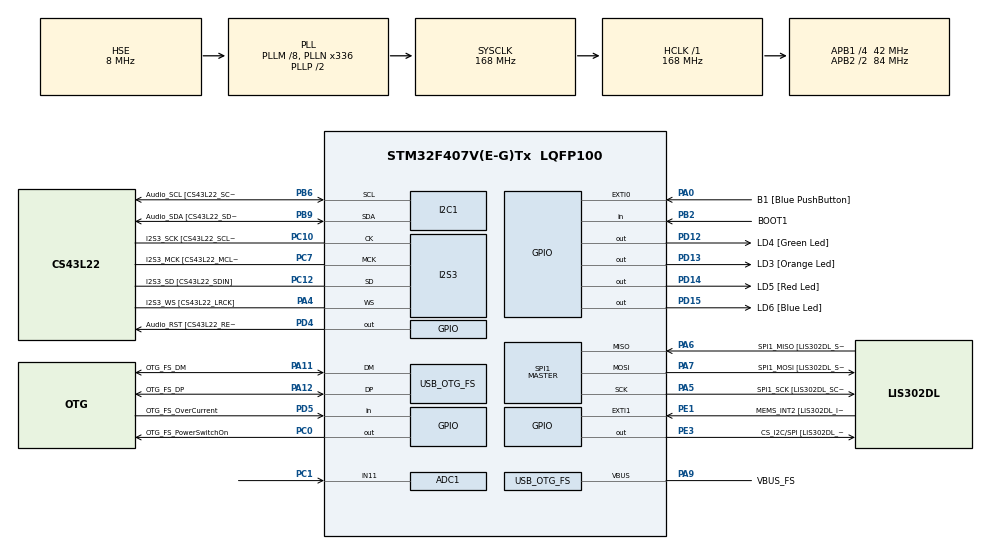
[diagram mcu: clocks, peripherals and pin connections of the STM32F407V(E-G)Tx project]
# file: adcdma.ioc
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ADC1.Channel-0\#ChannelRegularConversion=ADC_CHANNEL_TEMPSENSOR
ADC1.Channel-1\#ChannelRegularConversion=ADC_CHANNEL_11
ADC1.ClockPrescaler=ADC_CLOCK_SYNC_PCLK_DIV8
ADC1.ContinuousConvMode=ENABLE
ADC1.DMAContinuousRequests=ENABLE
ADC1.NbrOfConversion=2
ADC1.NbrOfConversionFlag=1
ADC1.Rank-0\#ChannelRegularConversion=1
ADC1.Rank-1\#ChannelRegularConversion=2
ADC1.SamplingTime-0\#ChannelRegularConversion=ADC_SAMPLETIME_112CYCLES
ADC1.SamplingTime-1\#ChannelRegularConversion=ADC_SAMPLETIME_112CYCLES
ADC1.ScanConvMode=ENABLE
ADC1.master=1
Dma.ADC1.0.Direction=DMA_PERIPH_TO_MEMORY
Dma.ADC1.0.FIFOMode=DMA_FIFOMODE_ENABLE
Dma.ADC1.0.FIFOThreshold=DMA_FIFO_THRESHOLD_FULL
Dma.ADC1.0.Instance=DMA2_Stream0
Dma.ADC1.0.MemBurst=DMA_MBURST_SINGLE
Dma.ADC1.0.MemDataAlignment=DMA_MDATAALIGN_WORD
Dma.ADC1.0.MemInc=DMA_MINC_ENABLE
Dma.ADC1.0.Mode=DMA_CIRCULAR
Dma.ADC1.0.PeriphBurst=DMA_PBURST_SINGLE
Dma.ADC1.0.PeriphDataAlignment=DMA_PDATAALIGN_WORD
Dma.ADC1.0.PeriphInc=DMA_PINC_DISABLE
Dma.ADC1.0.Priority=DMA_PRIORITY_LOW
Dma.Request0=ADC1
I2S3.AudioFreq-Half_Duplex_Master=I2S_AUDIOFREQ_96K
I2S3.ErrorAudioFreq=-2.34 %
I2S3.ErrorAudioFreq-Half_Duplex_Master=0.8 %
I2S3.FullDuplexMode=I2S_FULLDUPLEXMODE_DISABLE
I2S3.Instance=SPI$Index
I2S3.RealAudioFreq=93.75 KHz
I2S3.RealAudioFreq-Half_Duplex_Master=96.774 KHz
I2S3.VirtualMode=I2S_MODE_MASTER
Mcu.Family=STM32F4
Mcu.Name=STM32F407V(E-G)Tx
Mcu.Package=LQFP100
NVIC.DMA2_Stream0_IRQn=true\:0\:0\:false\:false\:true\:false\:true
NVIC.OTG_FS_IRQn=true\:0\:0\:false\:false\:true\:true\:true
NVIC.PriorityGroup=NVIC_PRIORITYGROUP_0
PA0-WKUP.GPIO_Label=B1 [Blue PushButton]
PA0-WKUP.GPIO_ModeDefaultEXTI=GPIO_MODE_EVT_RISING
PA0-WKUP.GPIO_PuPd=GPIO_NOPULL
PA0-WKUP.Signal=GPXTI0
PA10.GPIO_Label=OTG_FS_ID
PA10.GPIO_Mode=GPIO_MODE_AF_PP
PA10.GPIO_PuPd=GPIO_NOPULL
PA10.GPIO_Speed=GPIO_SPEED_FREQ_LOW
PA10.Signal=USB_OTG_FS_ID
PA11.GPIO_Label=OTG_FS_DM
PA11.GPIO_Mode=GPIO_MODE_AF_PP
PA11.GPIO_PuPd=GPIO_NOPULL
PA11.GPIO_Speed=GPIO_SPEED_FREQ_LOW
PA11.Mode=Host_Only
PA11.Signal=USB_OTG_FS_DM
PA12.GPIO_Label=OTG_FS_DP
PA12.GPIO_Mode=GPIO_MODE_AF_PP
PA12.GPIO_PuPd=GPIO_NOPULL
PA12.GPIO_Speed=GPIO_SPEED_FREQ_LOW
PA12.Mode=Host_Only
PA12.Signal=USB_OTG_FS_DP
PA13.GPIO_Label=SWDIO
PA13.Mode=Trace_Asynchronous_SW
PA13.Signal=SYS_JTMS-SWDIO
PA14.GPIO_Label=SWCLK
PA14.Mode=Trace_Asynchronous_SW
PA14.Signal=SYS_JTCK-SWCLK
PA4.GPIO_Label=I2S3_WS [CS43L22_LRCK]
PA4.GPIO_Mode=GPIO_MODE_AF_PP
PA4.GPIO_PuPd=GPIO_NOPULL
PA4.GPIO_Speed=GPIO_SPEED_FREQ_LOW
PA4.Mode=Half_Duplex_Master
PA4.Signal=I2S3_WS
PA5.GPIO_Label=SPI1_SCK [LIS302DL_SCL/SPC]
PA5.GPIO_Mode=GPIO_MODE_AF_PP
PA5.GPIO_PuPd=GPIO_NOPULL
PA5.GPIO_Speed=GPIO_SPEED_FREQ_LOW
PA5.Mode=Full_Duplex_Master
PA5.Signal=SPI1_SCK
PA6.GPIO_Label=SPI1_MISO [LIS302DL_SDO]
PA6.GPIO_Mode=GPIO_MODE_AF_PP
PA6.GPIO_PuPd=GPIO_NOPULL
PA6.GPIO_Speed=GPIO_SPEED_FREQ_LOW
PA6.Mode=Full_Duplex_Master
PA6.Signal=SPI1_MISO
PA7.GPIO_Label=SPI1_MOSI [LIS302DL_SDA/SDI/SDO]
PA7.GPIO_Mode=GPIO_MODE_AF_PP
PA7.GPIO_PuPd=GPIO_NOPULL
PA7.GPIO_Speed=GPIO_SPEED_FREQ_LOW
PA7.Mode=Full_Duplex_Master
PA7.Signal=SPI1_MOSI
PA9.GPIO_Label=VBUS_FS
PA9.GPIO_Mode=GPIO_MODE_INPUT
PA9.GPIO_PuPd=GPIO_NOPULL
PA9.Mode=Activate_VBUS
PA9.Signal=USB_OTG_FS_VBUS
PB10.GPIO_Label=CLK_IN [MP45DT02_CLK]
PB10.GPIO_Mode=GPIO_MODE_AF_PP
PB10.GPIO_PuPd=GPIO_NOPULL
PB10.GPIO_Speed=GPIO_SPEED_FREQ_LOW
PB10.Signal=I2S2_CK
PB2.GPIO_Label=BOOT1
PB2.GPIO_Mode=GPIO_MODE_INPUT
PB2.GPIO_PuPd=GPIO_NOPULL
PB2.Signal=GPIO_Input
PB3.GPIO_Label=SWO
PB3.Mode=Trace_Asynchronous_SW
PB3.Signal=SYS_JTDO-SWO
PB6.GPIO_Label=Audio_SCL [CS43L22_SCL]
PB6.GPIO_Mode=GPIO_MODE_AF_OD
PB6.GPIO_Pu=GPIO_PULLUP
PB6.GPIO_PuPd=GPIO_NOPULL
PB6.GPIO_Speed=GPIO_SPEED_FREQ_LOW
PB6.Mode=I2C
PB6.Signal=I2C1_SCL
PB9.GPIO_Label=Audio_SDA [CS43L22_SDA]
PB9.GPIO_Mode=GPIO_MODE_AF_OD
PB9.GPIO_Pu=GPIO_PULLUP
PB9.GPIO_PuPd=GPIO_NOPULL
PB9.GPIO_Speed=GPIO_SPEED_FREQ_LOW
PB9.Mode=I2C
PB9.Signal=I2C1_SDA
PC0.GPIO_Label=OTG_FS_PowerSwitchOn
PC0.GPIO_PuPd=GPIO_NOPULL
PC0.GPIO_Speed=GPIO_SPEED_FREQ_LOW
PC0.PinState=GPIO_PIN_SET
PC0.Signal=GPIO_Output
PC1.Signal=ADCx_IN11
PC10.GPIO_Label=I2S3_SCK [CS43L22_SCLK]
PC10.GPIO_Mode=GPIO_MODE_AF_PP
PC10.GPIO_PuPd=GPIO_NOPULL
PC10.GPIO_Speed=GPIO_SPEED_FREQ_LOW
PC10.Mode=Half_Duplex_Master
PC10.Signal=I2S3_CK
PC12.GPIO_Label=I2S3_SD [CS43L22_SDIN]
PC12.GPIO_Mode=GPIO_MODE_AF_PP
PC12.GPIO_PuPd=GPIO_NOPULL
PC12.GPIO_Speed=GPIO_SPEED_FREQ_LOW
PC12.Mode=Half_Duplex_Master
PC12.Signal=I2S3_SD
PC14-OSC32_IN.GPIO_Label=PC14-OSC32_IN
PC14-OSC32_IN.Mode=LSE-External-Oscillator
PC14-OSC32_IN.Signal=RCC_OSC32_IN
PC15-OSC32_OUT.GPIO_Label=PC15-OSC32_OUT
PC15-OSC32_OUT.Mode=LSE-External-Oscillator
PC15-OSC32_OUT.Signal=RCC_OSC32_OUT
PC3.GPIO_Label=PDM_OUT [MP45DT02_DOUT]
PC3.GPIO_Mode=GPIO_MODE_AF_PP
PC3.GPIO_PuPd=GPIO_NOPULL
PC3.GPIO_Speed=GPIO_SPEED_FREQ_LOW
PC3.Signal=I2S2_SD
PC7.GPIO_Label=I2S3_MCK [CS43L22_MCLK]
PC7.GPIO_Mode=GPIO_MODE_AF_PP
PC7.GPIO_PuPd=GPIO_NOPULL
PC7.GPIO_Speed=GPIO_SPEED_FREQ_LOW
PC7.Mode=Master_Clock_Activated
PC7.Signal=I2S3_MCK
PD12.GPIO_Label=LD4 [Green Led]
PD12.GPIO_PuPd=GPIO_NOPULL
PD12.GPIO_Speed=GPIO_SPEED_FREQ_LOW
PD12.Signal=GPIO_Output
PD13.GPIO_Label=LD3 [Orange Led]
PD13.GPIO_ModeDefaultOutputPP=GPIO_MODE_OUTPUT_PP
PD13.GPIO_PuPd=GPIO_NOPULL
PD13.GPIO_Speed=GPIO_SPEED_FREQ_MEDIUM
PD13.Signal=GPIO_Output
PD14.GPIO_Label=LD5 [Red Led]
PD14.GPIO_PuPd=GPIO_NOPULL
PD14.GPIO_Speed=GPIO_SPEED_FREQ_LOW
PD14.Signal=GPIO_Output
PD15.GPIO_Label=LD6 [Blue Led]
PD15.GPIO_PuPd=GPIO_NOPULL
PD15.GPIO_Speed=GPIO_SPEED_FREQ_LOW
PD15.Signal=GPIO_Output
PD4.GPIO_Label=Audio_RST [CS43L22_RESET]
PD4.GPIO_PuPd=GPIO_NOPULL
PD4.GPIO_Speed=GPIO_SPEED_FREQ_LOW
PD4.Signal=GPIO_Output
PD5.GPIO_Label=OTG_FS_OverCurrent
PD5.GPIO_Mode=GPIO_MODE_INPUT
PD5.GPIO_PuPd=GPIO_NOPULL
PD5.Signal=GPIO_Input
PE1.GPIO_Label=MEMS_INT2 [LIS302DL_INT2]
PE1.GPIO_ModeDefaultEXTI=GPIO_MODE_EVT_RISING
PE1.GPIO_PuPd=GPIO_NOPULL
PE1.Signal=GPXTI1
PE3.GPIO_Label=CS_I2C/SPI [LIS302DL_CS_I2C/SPI]
PE3.GPIO_PuPd=GPIO_NOPULL
PE3.GPIO_Speed=GPIO_SPEED_FREQ_LOW
PE3.Signal=GPIO_Output
PH0-OSC_IN.GPIO_Label=PH0-OSC_IN
PH0-OSC_IN.Mode=HSE-External-Oscillator
PH0-OSC_IN.Signal=RCC_OSC_IN
PH1-OSC_OUT.GPIO_Label=PH1-OSC_OUT
PH1-OSC_OUT.Mode=HSE-External-Oscillator
PH1-OSC_OUT.Signal=RCC_OSC_OUT
ProjectManager.HeapSize=0x200
ProjectManager.StackSize=0x400
ProjectManager.TargetToolchain=STM32CubeIDE
RCC.48MHZClocksFreq_Value=48000000
RCC.AHBFreq_Value=168000000
RCC.APB1CLKDivider=RCC_HCLK_DIV4
RCC.APB1Freq_Value=42000000
RCC.APB1TimFreq_Value=84000000
RCC.APB2CLKDivider=RCC_HCLK_DIV2
RCC.APB2Freq_Value=84000000
RCC.APB2TimFreq_Value=168000000
RCC.CortexFreq_Value=168000000
RCC.HCLKFreq_Value=168000000
RCC.HSE_VALUE=8000000
RCC.HSI_VALUE=16000000
RCC.PLLM=8
RCC.PLLN=336
RCC.PLLQ=7
RCC.SYSCLKFreq_VALUE=168000000
RCC.SYSCLKSource=RCC_SYSCLKSOURCE_PLLCLK
RCC.VCOOutputFreq_Value=336000000
SH.ADCx_IN11.0=ADC3_IN11
SH.ADCx_IN11.1=ADC1_IN11,IN11
SPI1.BaudRatePrescaler-Full_Duplex_Master=SPI_BAUDRATEPRESCALER_2
SPI1.CalculateBaudRate-Full_Duplex_Master=42.0 MBits/s
SPI1.Direction=SPI_DIRECTION_2LINES
SPI1.Mode=SPI_MODE_MASTER
SPI1.Mode-Full_Duplex_Master=SPI_MODE_MASTER
SPI1.VirtualType=VM_MASTER
USB_HOST.BSP.number=1
USB_HOST.USBH_HandleTypeDef-CDC_FS=hUsbHostFS
USB_HOST.VirtualModeFS=Cdc
USB_HOST0.BSP.STBoard=false
USB_HOST0.BSP.api=Unknown
USB_HOST0.BSP.i2caddr=0
USB_HOST0.BSP.i2creg=0
USB_HOST0.BSP.instance=PC0
USB_HOST0.BSP.ip=GPIO
USB_HOST0.BSP.mode=Output
USB_HOST0.BSP.name=Drive_VBUS_FS
USB_HOST0.BSP.solution=PC0
USB_OTG_FS.VirtualMode=Host_Only
USB_OTG_FS.phy_itface=HCD_PHY_EMBEDDED
VP_ADC1_TempSens_Input.Mode=IN-TempSens
VP_USB_HOST_VS_USB_HOST_CDC_FS.Mode=CDC_FS
board=STM32F407G-DISC1

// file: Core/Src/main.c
/* USER CODE BEGIN Header */

/**
 * Loren Olsen
ECET 260 Mel Dundas
Lab 05 ADC Thermistor via DMA

Reading ADC value for CPU Die Temp and external Thermistor
ADC1 is being used for the CPU die Temperature monitor and also the external thermistor
Orange LED toggles off and on every 500ms from systick

  ******************************************************************************
  * @file           : main.c
  * @brief          : Main program body
  ******************************************************************************
  * @attention
  *
  * <h2><center>&copy; Copyright (c) 2021 STMicroelectronics.
  * All rights reserved.</center></h2>
  *
  * This software component is licensed by ST under Ultimate Liberty license
  * SLA0044, the "License"; You may not use this file except in compliance with
  * the License. You may obtain a copy of the License at:
  *                             www.st.com/SLA0044
  *
  ******************************************************************************
  */
/* USER CODE END Header */
#include "main.h"
#include "usb_host.h"

/* USER CODE BEGIN Includes */
#include <stdio.h>
#include <math.h>

/* USER CODE END Includes */

ADC_HandleTypeDef hadc1;
DMA_HandleTypeDef hdma_adc1;

I2C_HandleTypeDef hi2c1;

I2S_HandleTypeDef hi2s3;

SPI_HandleTypeDef hspi1;

/* USER CODE BEGIN PV */

//unsigned int adcSumForAverage0, adcSumForAverage1 = 0;
uint32_t dmaData[200];
uint32_t cpuRaw, thermRaw, count = 0;
float tempcpu, tempextern, readcpu, readtherm = 0.0;

/* USER CODE END PV */

void SystemClock_Config(void);
static void MX_GPIO_Init(void);
static void MX_I2C1_Init(void);
static void MX_I2S3_Init(void);
static void MX_SPI1_Init(void);
static void MX_DMA_Init(void);
static void MX_ADC1_Init(void);
void MX_USB_HOST_Process(void);

/* USER CODE BEGIN PFP */

int __io_putchar(int ch);
float  convertAnalogToTemperature(unsigned int analogReadValue);
float convertAnalogCPUToTemperature(unsigned int analogReadValue);

/* USER CODE END PFP */

int main(void)
{

  /* MCU Configuration--------------------------------------------------------*/

  /* Reset of all peripherals, Initializes the Flash interface and the Systick. */
  HAL_Init();

  /* Configure the system clock */
  SystemClock_Config();

  /* Initialize all configured peripherals */
  MX_GPIO_Init();
  MX_I2C1_Init();
  MX_I2S3_Init();
  MX_SPI1_Init();
  MX_USB_HOST_Init();
  MX_DMA_Init();
  MX_ADC1_Init();

  /* Infinite loop */
  /* USER CODE BEGIN WHILE */

  HAL_ADC_Start_DMA(&hadc1, dmaData, 200);												//Start the ADC converiosn and send it via DMA to dmaData Array
  	  	  	  	  	  	  	  	  	  	  	  	  	  	  	  	  	  	  	  	  	  	  //Because of the ranking in the DMA , odd array values will be CPU data
  	  	  	  	  	  	  	  	  	  	  	  	  	  	  	  	  	  	  	  	  	  	  // and odd values will be for the thermistor

  while (1)	//****************************************************************************     Start of Code
  {

	  printf("%i --> ", count);
	  //count++;

	  for (int i = 0; i < 200; i+=2)													//Take all even Array values and add them into cpu raw data
	  {
		   cpuRaw += dmaData[i];

	  }

	  for (int i = 1; i < 200; i+=2)													//Take all odd array values and add them to raw thermistor data
	  {
		   thermRaw += dmaData[i];

	  }

	  tempcpu = convertAnalogCPUToTemperature(cpuRaw / 100);							//Get CPU temp from the average of 100 samples of raw data
	  readcpu = tempcpu;																//copy this data into a more stable variable

	  tempextern = convertAnalogToTemperature(thermRaw / 100);							//Get Thermistor temp from average of 100 raw data samples
	  readtherm = tempextern;															//Copy data to a stable variable for output on the cube ide graph

	  printf("CPU Raw = %i     Exter Raw = %i \n", cpuRaw, thermRaw);

	  printf("CPU Temp = %.1f      Exter Temp = %.1f \n", tempcpu, tempextern);

	  cpuRaw = 0;
	  thermRaw = 0;

	  if (count >= 500)																	//Count is incremented in systick function. 1 tick per ms
	  {
		  HAL_GPIO_TogglePin(OrangeLED_GPIO_Port, OrangeLED_Pin);
		  count -= 500;
	  }

  }

    /* USER CODE END WHILE */
    MX_USB_HOST_Process();

}

void SystemClock_Config(void)
{
  RCC_OscInitTypeDef RCC_OscInitStruct = {0};
  RCC_ClkInitTypeDef RCC_ClkInitStruct = {0};

  /** Configure the main internal regulator output voltage
  */
  __HAL_RCC_PWR_CLK_ENABLE();
  __HAL_PWR_VOLTAGESCALING_CONFIG(PWR_REGULATOR_VOLTAGE_SCALE1);
  /** Initializes the RCC Oscillators according to the specified parameters
  * in the RCC_OscInitTypeDef structure.
  */
  RCC_OscInitStruct.OscillatorType = RCC_OSCILLATORTYPE_HSE;
  RCC_OscInitStruct.HSEState = RCC_HSE_ON;
  RCC_OscInitStruct.PLL.PLLState = RCC_PLL_ON;
  RCC_OscInitStruct.PLL.PLLSource = RCC_PLLSOURCE_HSE;
  RCC_OscInitStruct.PLL.PLLM = 8;
  RCC_OscInitStruct.PLL.PLLN = 336;
  RCC_OscInitStruct.PLL.PLLP = RCC_PLLP_DIV2;
  RCC_OscInitStruct.PLL.PLLQ = 7;
  if (HAL_RCC_OscConfig(&RCC_OscInitStruct) != HAL_OK)
  {
    Error_Handler();
  }
  /** Initializes the CPU, AHB and APB buses clocks
  */
  RCC_ClkInitStruct.ClockType = RCC_CLOCKTYPE_HCLK|RCC_CLOCKTYPE_SYSCLK
                              |RCC_CLOCKTYPE_PCLK1|RCC_CLOCKTYPE_PCLK2;
  RCC_ClkInitStruct.SYSCLKSource = RCC_SYSCLKSOURCE_PLLCLK;
  RCC_ClkInitStruct.AHBCLKDivider = RCC_SYSCLK_DIV1;
  RCC_ClkInitStruct.APB1CLKDivider = RCC_HCLK_DIV4;
  RCC_ClkInitStruct.APB2CLKDivider = RCC_HCLK_DIV2;

  if (HAL_RCC_ClockConfig(&RCC_ClkInitStruct, FLASH_LATENCY_5) != HAL_OK)
  {
    Error_Handler();
  }
}

static void MX_ADC1_Init(void)
{

  ADC_ChannelConfTypeDef sConfig = {0};

  /** Configure the global features of the ADC (Clock, Resolution, Data Alignment and number of conversion)
  */
  hadc1.Instance = ADC1;
  hadc1.Init.ClockPrescaler = ADC_CLOCK_SYNC_PCLK_DIV8;
  hadc1.Init.Resolution = ADC_RESOLUTION_12B;
  hadc1.Init.ScanConvMode = ENABLE;
  hadc1.Init.ContinuousConvMode = ENABLE;
  hadc1.Init.DiscontinuousConvMode = DISABLE;
  hadc1.Init.ExternalTrigConvEdge = ADC_EXTERNALTRIGCONVEDGE_NONE;
  hadc1.Init.ExternalTrigConv = ADC_SOFTWARE_START;
  hadc1.Init.DataAlign = ADC_DATAALIGN_RIGHT;
  hadc1.Init.NbrOfConversion = 2;
  hadc1.Init.DMAContinuousRequests = ENABLE;
  hadc1.Init.EOCSelection = ADC_EOC_SINGLE_CONV;
  if (HAL_ADC_Init(&hadc1) != HAL_OK)
  {
    Error_Handler();
  }
  /** Configure for the selected ADC regular channel its corresponding rank in the sequencer and its sample time.
  */
  sConfig.Channel = ADC_CHANNEL_TEMPSENSOR;
  sConfig.Rank = 1;
  sConfig.SamplingTime = ADC_SAMPLETIME_112CYCLES;
  if (HAL_ADC_ConfigChannel(&hadc1, &sConfig) != HAL_OK)
  {
    Error_Handler();
  }
  /** Configure for the selected ADC regular channel its corresponding rank in the sequencer and its sample time.
  */
  sConfig.Channel = ADC_CHANNEL_11;
  sConfig.Rank = 2;
  if (HAL_ADC_ConfigChannel(&hadc1, &sConfig) != HAL_OK)
  {
    Error_Handler();
  }

}

static void MX_I2C1_Init(void)
{

  hi2c1.Instance = I2C1;
  hi2c1.Init.ClockSpeed = 100000;
  hi2c1.Init.DutyCycle = I2C_DUTYCYCLE_2;
  hi2c1.Init.OwnAddress1 = 0;
  hi2c1.Init.AddressingMode = I2C_ADDRESSINGMODE_7BIT;
  hi2c1.Init.DualAddressMode = I2C_DUALADDRESS_DISABLE;
  hi2c1.Init.OwnAddress2 = 0;
  hi2c1.Init.GeneralCallMode = I2C_GENERALCALL_DISABLE;
  hi2c1.Init.NoStretchMode = I2C_NOSTRETCH_DISABLE;
  if (HAL_I2C_Init(&hi2c1) != HAL_OK)
  {
    Error_Handler();
  }

}

static void MX_I2S3_Init(void)
{

  hi2s3.Instance = SPI3;
  hi2s3.Init.Mode = I2S_MODE_MASTER_TX;
  hi2s3.Init.Standard = I2S_STANDARD_PHILIPS;
  hi2s3.Init.DataFormat = I2S_DATAFORMAT_16B;
  hi2s3.Init.MCLKOutput = I2S_MCLKOUTPUT_ENABLE;
  hi2s3.Init.AudioFreq = I2S_AUDIOFREQ_96K;
  hi2s3.Init.CPOL = I2S_CPOL_LOW;
  hi2s3.Init.ClockSource = I2S_CLOCK_PLL;
  hi2s3.Init.FullDuplexMode = I2S_FULLDUPLEXMODE_DISABLE;
  if (HAL_I2S_Init(&hi2s3) != HAL_OK)
  {
    Error_Handler();
  }

}

static void MX_SPI1_Init(void)
{

  /* SPI1 parameter configuration*/
  hspi1.Instance = SPI1;
  hspi1.Init.Mode = SPI_MODE_MASTER;
  hspi1.Init.Direction = SPI_DIRECTION_2LINES;
  hspi1.Init.DataSize = SPI_DATASIZE_8BIT;
  hspi1.Init.CLKPolarity = SPI_POLARITY_LOW;
  hspi1.Init.CLKPhase = SPI_PHASE_1EDGE;
  hspi1.Init.NSS = SPI_NSS_SOFT;
  hspi1.Init.BaudRatePrescaler = SPI_BAUDRATEPRESCALER_2;
  hspi1.Init.FirstBit = SPI_FIRSTBIT_MSB;
  hspi1.Init.TIMode = SPI_TIMODE_DISABLE;
  hspi1.Init.CRCCalculation = SPI_CRCCALCULATION_DISABLE;
  hspi1.Init.CRCPolynomial = 10;
  if (HAL_SPI_Init(&hspi1) != HAL_OK)
  {
    Error_Handler();
  }

}

static void MX_DMA_Init(void)
{

  /* DMA controller clock enable */
  __HAL_RCC_DMA2_CLK_ENABLE();

  /* DMA interrupt init */
  /* DMA2_Stream0_IRQn interrupt configuration */
  HAL_NVIC_SetPriority(DMA2_Stream0_IRQn, 0, 0);
  HAL_NVIC_EnableIRQ(DMA2_Stream0_IRQn);

}

static void MX_GPIO_Init(void)
{
  GPIO_InitTypeDef GPIO_InitStruct = {0};

  /* GPIO Ports Clock Enable */
  __HAL_RCC_GPIOE_CLK_ENABLE();
  __HAL_RCC_GPIOC_CLK_ENABLE();
  __HAL_RCC_GPIOH_CLK_ENABLE();
  __HAL_RCC_GPIOA_CLK_ENABLE();
  __HAL_RCC_GPIOB_CLK_ENABLE();
  __HAL_RCC_GPIOD_CLK_ENABLE();

  /*Configure GPIO pin Output Level */
  HAL_GPIO_WritePin(CS_I2C_SPI_GPIO_Port, CS_I2C_SPI_Pin, GPIO_PIN_RESET);

  /*Configure GPIO pin Output Level */
  HAL_GPIO_WritePin(OTG_FS_PowerSwitchOn_GPIO_Port, OTG_FS_PowerSwitchOn_Pin, GPIO_PIN_SET);

  /*Configure GPIO pin Output Level */
  HAL_GPIO_WritePin(GPIOD, LD4_Pin|LD3_Pin|LD5_Pin|LD6_Pin
                          |Audio_RST_Pin, GPIO_PIN_RESET);

  /*Configure GPIO pin : CS_I2C_SPI_Pin */
  GPIO_InitStruct.Pin = CS_I2C_SPI_Pin;
  GPIO_InitStruct.Mode = GPIO_MODE_OUTPUT_PP;
  GPIO_InitStruct.Pull = GPIO_NOPULL;
  GPIO_InitStruct.Speed = GPIO_SPEED_FREQ_LOW;
  HAL_GPIO_Init(CS_I2C_SPI_GPIO_Port, &GPIO_InitStruct);

  /*Configure GPIO pin : OTG_FS_PowerSwitchOn_Pin */
  GPIO_InitStruct.Pin = OTG_FS_PowerSwitchOn_Pin;
  GPIO_InitStruct.Mode = GPIO_MODE_OUTPUT_PP;
  GPIO_InitStruct.Pull = GPIO_NOPULL;
  GPIO_InitStruct.Speed = GPIO_SPEED_FREQ_LOW;
  HAL_GPIO_Init(OTG_FS_PowerSwitchOn_GPIO_Port, &GPIO_InitStruct);

  /*Configure GPIO pin : PC1 */
  GPIO_InitStruct.Pin = GPIO_PIN_1;
  GPIO_InitStruct.Mode = GPIO_MODE_ANALOG;
  GPIO_InitStruct.Pull = GPIO_NOPULL;
  HAL_GPIO_Init(GPIOC, &GPIO_InitStruct);

  /*Configure GPIO pin : PDM_OUT_Pin */
  GPIO_InitStruct.Pin = PDM_OUT_Pin;
  GPIO_InitStruct.Mode = GPIO_MODE_AF_PP;
  GPIO_InitStruct.Pull = GPIO_NOPULL;
  GPIO_InitStruct.Speed = GPIO_SPEED_FREQ_LOW;
  GPIO_InitStruct.Alternate = GPIO_AF5_SPI2;
  HAL_GPIO_Init(PDM_OUT_GPIO_Port, &GPIO_InitStruct);

  /*Configure GPIO pin : B1_Pin */
  GPIO_InitStruct.Pin = B1_Pin;
  GPIO_InitStruct.Mode = GPIO_MODE_EVT_RISING;
  GPIO_InitStruct.Pull = GPIO_NOPULL;
  HAL_GPIO_Init(B1_GPIO_Port, &GPIO_InitStruct);

  /*Configure GPIO pin : BOOT1_Pin */
  GPIO_InitStruct.Pin = BOOT1_Pin;
  GPIO_InitStruct.Mode = GPIO_MODE_INPUT;
  GPIO_InitStruct.Pull = GPIO_NOPULL;
  HAL_GPIO_Init(BOOT1_GPIO_Port, &GPIO_InitStruct);

  /*Configure GPIO pin : CLK_IN_Pin */
  GPIO_InitStruct.Pin = CLK_IN_Pin;
  GPIO_InitStruct.Mode = GPIO_MODE_AF_PP;
  GPIO_InitStruct.Pull = GPIO_NOPULL;
  GPIO_InitStruct.Speed = GPIO_SPEED_FREQ_LOW;
  GPIO_InitStruct.Alternate = GPIO_AF5_SPI2;
  HAL_GPIO_Init(CLK_IN_GPIO_Port, &GPIO_InitStruct);

  /*Configure GPIO pins : LD4_Pin LD5_Pin LD6_Pin Audio_RST_Pin */
  GPIO_InitStruct.Pin = LD4_Pin|LD5_Pin|LD6_Pin|Audio_RST_Pin;
  GPIO_InitStruct.Mode = GPIO_MODE_OUTPUT_PP;
  GPIO_InitStruct.Pull = GPIO_NOPULL;
  GPIO_InitStruct.Speed = GPIO_SPEED_FREQ_LOW;
  HAL_GPIO_Init(GPIOD, &GPIO_InitStruct);

  /*Configure GPIO pin : LD3_Pin */
  GPIO_InitStruct.Pin = LD3_Pin;
  GPIO_InitStruct.Mode = GPIO_MODE_OUTPUT_PP;
  GPIO_InitStruct.Pull = GPIO_NOPULL;
  GPIO_InitStruct.Speed = GPIO_SPEED_FREQ_MEDIUM;
  HAL_GPIO_Init(LD3_GPIO_Port, &GPIO_InitStruct);

  /*Configure GPIO pin : OTG_FS_OverCurrent_Pin */
  GPIO_InitStruct.Pin = OTG_FS_OverCurrent_Pin;
  GPIO_InitStruct.Mode = GPIO_MODE_INPUT;
  GPIO_InitStruct.Pull = GPIO_NOPULL;
  HAL_GPIO_Init(OTG_FS_OverCurrent_GPIO_Port, &GPIO_InitStruct);

  /*Configure GPIO pin : MEMS_INT2_Pin */
  GPIO_InitStruct.Pin = MEMS_INT2_Pin;
  GPIO_InitStruct.Mode = GPIO_MODE_EVT_RISING;
  GPIO_InitStruct.Pull = GPIO_NOPULL;
  HAL_GPIO_Init(MEMS_INT2_GPIO_Port, &GPIO_InitStruct);

}

/* USER CODE BEGIN 4 */
//**********************************************************************  Start of user Functions

float  convertAnalogToTemperature(unsigned int analogReadValue)
	{
	// If analogReadValue is 4095, we would otherwise cause a Divide-By-Zero,
	  // Treat as crazy out-of-range temperature.
	  if(analogReadValue == 4095) return 1000.0;

	  return (1/((log(((10000.0 * analogReadValue) / (4095.0 - analogReadValue))/100000.0)/3950.0) + (1 / (273.15 + 25.000)))) - 273.15;
	}

float convertAnalogCPUToTemperature(unsigned int analogReadValue)
	{
	float analogfloat = analogReadValue;

	return ((analogfloat / (float)(4095.0/3.300)) - 0.760) / .0025 + 25;

	}

/*
 * Temperature (in °C) = {(VSENSE – V25) / Avg_Slope} + 25
Where:
– V 25 = VSENSE value for 25° C
– Avg_Slope = average slope of the temperature vs. VSENSE curve (given in mV/°C
or μV/°C)

 760mV
 2.5 slope
 */

void HAL_IncTick(void)
	{
		uwTick += uwTickFreq;
		count++;

	}

int __io_putchar(int ch)
   	  {
   		  ITM_SendChar(ch);
   		  return 0;
   	  }

/* USER CODE END 4 */

void Error_Handler(void)
{
  __disable_irq();
  while (1)
  {
  }
}

/************************ (C) COPYRIGHT STMicroelectronics *****END OF FILE****/
